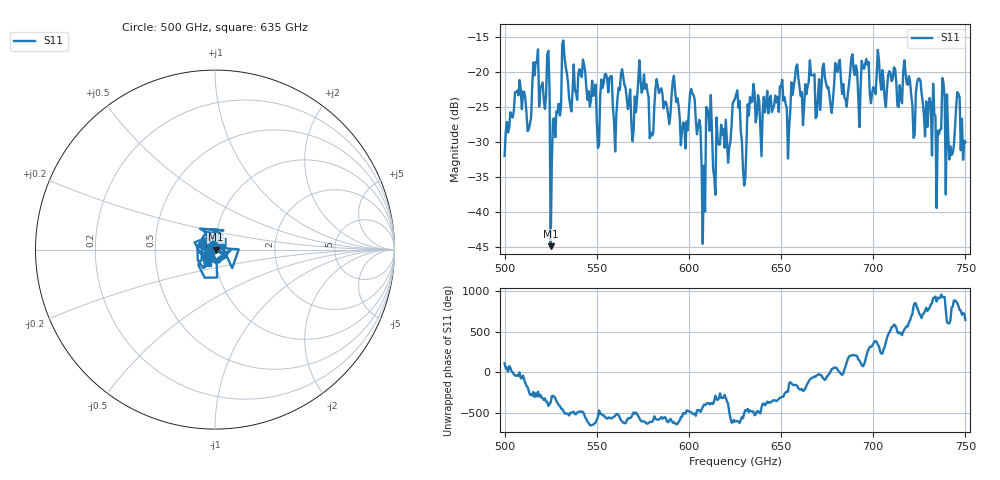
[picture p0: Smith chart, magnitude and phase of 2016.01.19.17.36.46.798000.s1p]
!Created with skrf (http://scikit-rf.org).
# GHz S RI R 50.0
!freq ReS11 ImS11
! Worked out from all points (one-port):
!   401 points, 500 GHz to 750 GHz, reference 50 ohm
!   lowest |S11| = -44.8 dB at 525 GHz (marker M1), VSWR 1.01, Z = 50.6 - j0.0538 ohm
!   |S11| at or under -10 dB: start of sweep to end of sweep
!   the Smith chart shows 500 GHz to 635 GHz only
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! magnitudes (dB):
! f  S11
! 500 GHz  -32.0
! 506.9 GHz  -22.7
! 513.1 GHz  -28.2
! 516.9 GHz  -18.6
! 523.1 GHz  -17.6
! 525 GHz  -44.8
! 526.2 GHz  -26.8
! 531.2 GHz  -16.1
! 550.6 GHz  -30.9
! 562.5 GHz  -22.6
! 570 GHz  -28.4
! 574.4 GHz  -23.0
! 580 GHz  -29.1
! 583.1 GHz  -22.0
! 593.8 GHz  -23.8
! 596.9 GHz  -27.2
! 601.9 GHz  -23.1
! 607.5 GHz  -44.5
! 610.6 GHz  -26.4
! 614.4 GHz  -37.5
! 625 GHz  -23.9
! 630 GHz  -36.2
! 634.4 GHz  -24.2
! 656.2 GHz  -23.3
! 687.5 GHz  -20.0
! 718.8 GHz  -21.9
! 745.6 GHz  -22.9
! 750 GHz  -30.0
